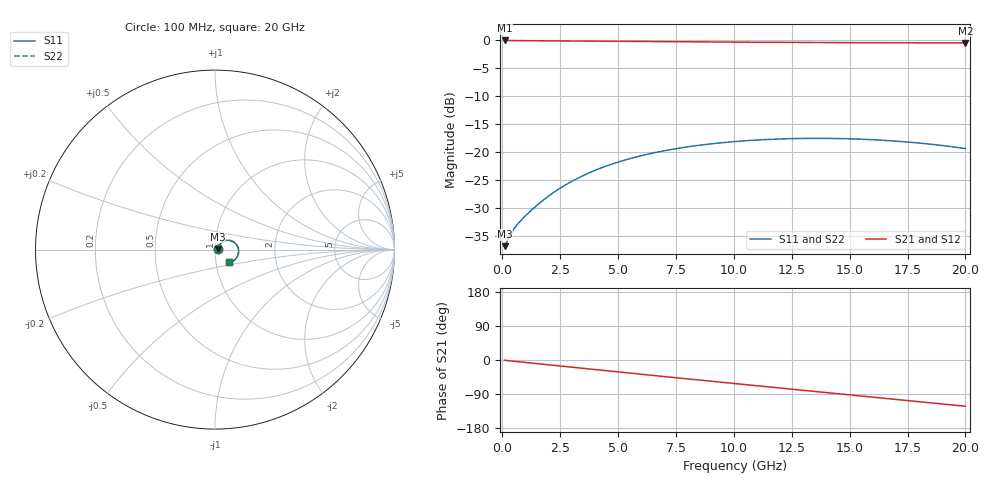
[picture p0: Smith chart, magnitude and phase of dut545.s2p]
! Touchstone file exported from HFSS 2026.1.0
!  File:  C:/ffzhzh/LocalFiles/Ansys_Project_Files/temp_train_TSV_RDL_545_1783114131_46604.aedt
!  Generated:  05:37:59 AM Jul  4, 2026
!  Design:  TSV_RDL
!  Project:  temp_train_TSV_RDL_545_1783114131_46604
! Variables:
!  h_bsmrdl = 3.56um
!  h_ox = 20um
!  h_rdl = 5um
!  h_sub = 59.34um
!  h_tmrdl = 3.52um
!  h_tsv = 59.34um
!  h_via = 3um
!  l_bsmrdl = 367.45um
!  l_sub = 2081.49um
!  l_tmrdl = 118.37um
!  m_sub = 200um
!  pitch = 22.11um
!  r_tsv = 3.34um
!  s_tmrdl = 10um
!  w_bsmrdl = 17.49um
!  w_sub = 500um
!  w_tmrdl = 17.73um
!  x_tsv_center1 = 127.235um
!  x_tsv_center2 = 512.175um
!  x_tsv_center3 = 648.275um
!  x_tsv_center4 = 1033.215um
!  x_tsv_center5 = 1169.315um
!  x_tsv_center6 = 1554.255um
# GHz S MA R 50.000000
! Terminal data exported
! Port[1] = TM_RDL1_1_T1
! Port[2] = TM_RDL5_1_T1
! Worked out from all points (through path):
!   200 points, 100 MHz to 20 GHz, reference 50 ohm
!   highest |S21| = -0.12 dB at 100 MHz (marker M1); lowest = -0.6 dB at 20 GHz (marker M2)
!   group delay of S21, straight-line fit = 16.9 ps
!   lowest |S11| = -36.8 dB at 100 MHz (marker M3), VSWR 1.03, Z = 51.4 + j0.285 ohm
!   |S11| at or under -10 dB: start of sweep to end of sweep
!   |S22| runs from -36.8 to -17.6 dB; largest |S21 - S12| = 1.6e-14
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0.1  0.01444 11.1  0.9859 -0.7  0.9859 -0.7  0.01444 11.1
! Gamma 0 0 0 0
! Port Impedance 50 0 50 0
0.4  0.0191 27.8  0.9835 -2.7  0.9835 -2.7  0.0191 27.8
0.6  0.02192 32.3  0.9822 -4.0  0.9822 -4.0  0.02192 32.3
0.9  0.0257 37.3  0.981 -5.9  0.981 -5.9  0.0257 37.3
1.3  0.03079 42.1  0.9799 -8.4  0.9799 -8.4  0.03079 42.1
1.8  0.03758 45.5  0.9788 -11.5  0.9788 -11.5  0.03758 45.5
2.3  0.04467 46.8  0.9776 -14.7  0.9776 -14.7  0.04467 46.8
2.9  0.05324 46.6  0.976 -18.4  0.976 -18.4  0.05324 46.6
3.5  0.06165 45.2  0.9742 -22.2  0.9742 -22.2  0.06165 45.2
4.2  0.07107 42.7  0.9719 -26.5  0.9719 -26.5  0.07107 42.7
5  0.08113 39.2  0.9691 -31.5  0.9691 -31.5  0.08113 39.2
5.9  0.09142 34.7  0.9659 -37.0  0.9659 -37.0  0.09142 34.7
6.8  0.1006 29.9  0.9627 -42.6  0.9627 -42.6  0.1006 29.9
8.5  0.1146 20.6  0.957 -52.9  0.957 -52.9  0.1146 20.6
10.1  0.124 11.8  0.9524 -62.6  0.9524 -62.6  0.124 11.8
11.8  0.13 2.4  0.9482 -72.8  0.9482 -72.8  0.13 2.4
13.4  0.1321 -6.4  0.9451 -82.4  0.9451 -82.4  0.1321 -6.4
15  0.1309 -15.1  0.9425 -92.0  0.9425 -92.0  0.1309 -15.2
15.8  0.129 -19.5  0.9415 -96.8  0.9415 -96.8  0.129 -19.5
16.7  0.126 -24.4  0.9404 -102.2  0.9404 -102.2  0.126 -24.4
18.3  0.1183 -33.0  0.9387 -111.8  0.9387 -111.8  0.1184 -33.0
20  0.1071 -41.9  0.9372 -122.1  0.9372 -122.1  0.1072 -42.0
